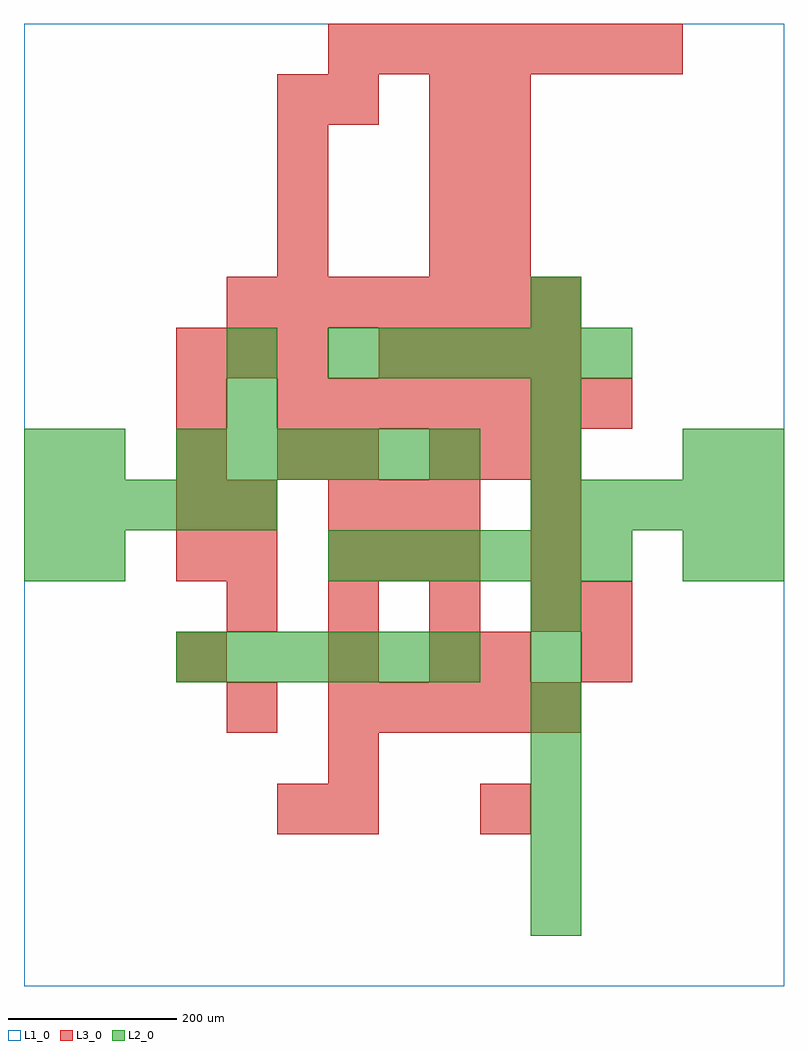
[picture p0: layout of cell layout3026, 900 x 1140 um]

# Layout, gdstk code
import gdstk
lib = gdstk.Library(unit=1e-6, precision=1e-09)
def R(c, l, rs):  # rectangles x0, y0, x1, y1
    for r in rs: c.add(gdstk.rectangle(r[:2], r[2:], *l))
def A(c, l, x, y, w, h, nx, ny, dx, dy):  # array of equal rectangles
    R(c, l, [(x+i*dx, y+j*dy, x+i*dx+w, y+j*dy+h) for i in range(nx) for j in range(ny)])
L1_0 = (1, 0)
L2_0 = (2, 0)
L3_0 = (3, 0)

layout3026 = lib.new_cell('layout3026')
R(layout3026, L1_0, [(0,0,900,1140)])
A(layout3026, L2_0, 600, 60, 60, 60, 1, 7, 0, 60)
A(layout3026, L2_0, 180, 360, 60, 60, 6, 2, 60, 240)
A(layout3026, L2_0, 360, 480, 60, 60, 6, 2, 60, 240)
A(layout3026, L2_0, 0, 540, 60, 60, 5, 1, 60, 0)
A(layout3026, L2_0, 600, 540, 60, 60, 5, 1, 60, 0)
R(layout3026, L2_0, [(0,480,60,540), (60,480,120,540), (780,480,840,540), (840,480,900,540), (0,600,60,660), (60,600,120,660), (600,600,660,660), (780,600,840,660), (840,600,900,660), (240,660,300,720), (600,660,660,720), (240,720,300,780), (600,780,660,840)])
A(layout3026, L3_0, 360, 300, 60, 60, 5, 1, 60, 0)
A(layout3026, L3_0, 240, 420, 60, 60, 4, 1, 120, 0)
A(layout3026, L3_0, 180, 480, 60, 60, 1, 4, 0, 60)
A(layout3026, L3_0, 360, 480, 60, 60, 3, 2, 60, 60)
A(layout3026, L3_0, 480, 600, 60, 60, 3, 1, 60, 0)
A(layout3026, L3_0, 300, 660, 60, 60, 7, 1, 60, 0)
A(layout3026, L3_0, 180, 720, 60, 60, 3, 1, 60, 0)
A(layout3026, L3_0, 420, 720, 60, 60, 4, 1, 60, 0)
A(layout3026, L3_0, 240, 780, 60, 60, 7, 1, 60, 0)
A(layout3026, L3_0, 300, 840, 60, 60, 1, 4, 0, 60)
A(layout3026, L3_0, 480, 840, 60, 60, 1, 4, 0, 60)
A(layout3026, L3_0, 540, 840, 60, 60, 1, 4, 0, 60)
A(layout3026, L3_0, 360, 1080, 60, 60, 7, 1, 60, 0)
R(layout3026, L3_0, [(300,180,360,240), (360,180,420,240), (540,180,600,240), (360,240,420,300), (240,300,300,360), (180,360,240,420), (360,360,420,420), (480,360,540,420), (540,360,600,420), (660,360,720,420), (660,420,720,480), (240,480,300,540), (600,480,660,540), (240,540,300,600), (600,540,660,600), (300,600,360,660), (360,600,420,660), (360,1020,420,1080)])

lib.write_gds('layout3026.gds')
